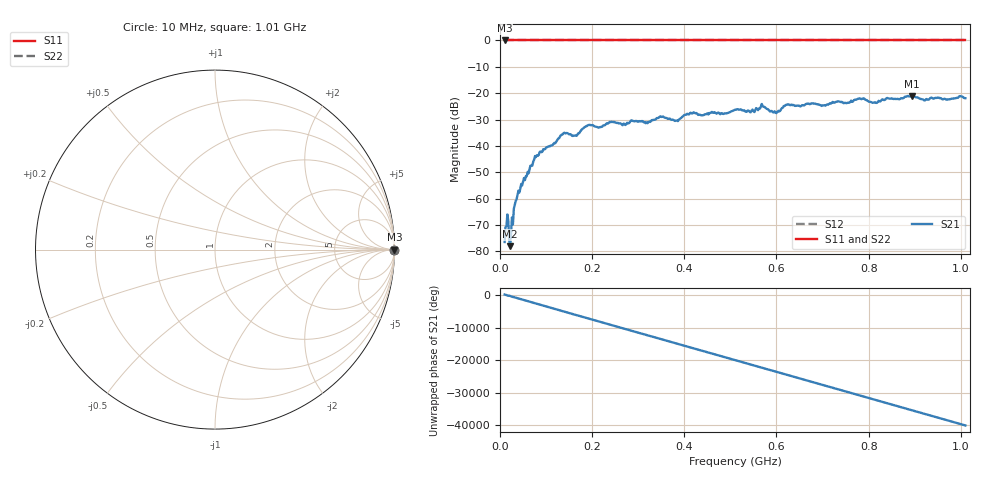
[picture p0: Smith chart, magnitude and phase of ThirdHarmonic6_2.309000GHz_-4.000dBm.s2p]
! 8/17/2025 3:11:25 AM
! C:\ANRITSUVNA\TEMP\TEMP.S2P
! CHANNEL.1
! TR.MEASUREMENT
! RAW.DATA
! RF.CORRECTION.OFF
! AVERAGING.OFF
! IF.BANDWIDTH: 5KHZ
! SWEEPTYPE:  FREQ.SWEEP(Linear)
! Reference Plane Port Info
! PORT:  PORT1  PORT2
! DISTANCE:  0  m  0  m
! TIME:  0  s  0  s
! PHASE.OFFSET:  0  deg.  0  deg.
! LOSS:  0  dB  0  dB
! REF.LOSS:  0  dB  0  dB
! REF.FREQ:  0  Hz  0  Hz
! Power Info
! POWER:  -20  dBm  -20  dBm
! EFF.POWER:  -20  dBm  -20  dBm
! SOURCE.ATTEN:  0  dB  0  dB
! TEST.ATTEN:  0  dB  0  dB
# GHZ S RI R 50.0
! FREQ.GHZ  S11RE  S11IM  S21RE  S21IM  S12RE  S12IM  S22RE  S22IM
!; PortSelection: Port_12
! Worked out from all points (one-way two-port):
!   501 points, 10 MHz to 1.01 GHz, reference 50 ohm
!   highest |S21| = -21.05 dB at 894 MHz (marker M1); lowest = -78.0 dB at 22 MHz (marker M2)
!   lowest |S11| = 0.0 dB at 10 MHz (marker M3)
!   |S11| at or under -10 dB: nowhere
!   |S22| runs from 0.0 to 0.0 dB; largest |S21 - S12| = 1.1
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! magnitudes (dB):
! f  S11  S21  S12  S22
! 10 MHz  0.0  -76.5  0.0  0.0
! 14 MHz  0.0  -70.4  0.0  0.0
! 22 MHz  0.0  -78.0  0.0  0.0
! 24 MHz  0.0  -73.4  0.0  0.0
! 30 MHz  0.0  -63.8  0.0  0.0
! 36 MHz  0.0  -60.3  0.0  0.0
! 76 MHz  0.0  -43.8  0.0  0.0
! 136 MHz  0.0  -35.6  0.0  0.0
! 162 MHz  0.0  -36.1  0.0  0.0
! 178 MHz  0.0  -33.7  0.0  0.0
! 344 MHz  0.0  -29.4  0.0  0.0
! 382 MHz  0.0  -30.4  0.0  0.0
! 416 MHz  0.0  -27.7  0.0  0.0
! 510 MHz  0.0  -26.3  0.0  0.0
! 548 MHz  0.0  -26.2  0.0  0.0
! 570 MHz  0.0  -24.9  0.0  0.0
! 598 MHz  0.0  -27.4  0.0  0.0
! 622 MHz  0.0  -24.4  0.0  0.0
! 678 MHz  0.0  -23.8  0.0  0.0
! 844 MHz  0.0  -22.1  0.0  0.0
! 894 MHz  0.0  -21.1  0.0  0.0
! 1.01 GHz  0.0  -21.9  0.0  0.0
